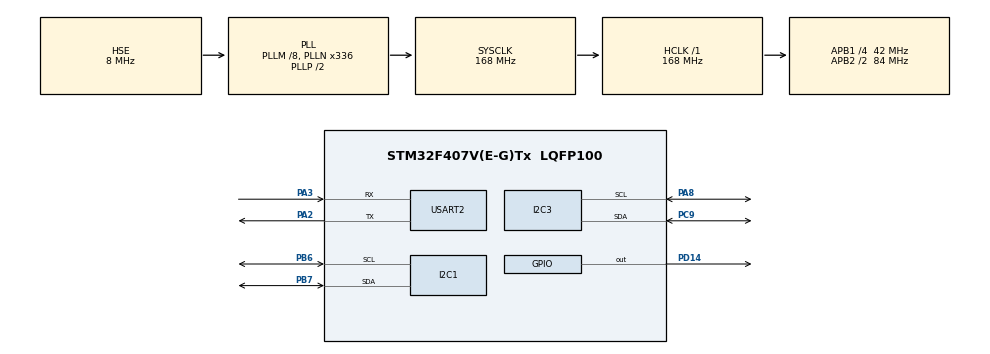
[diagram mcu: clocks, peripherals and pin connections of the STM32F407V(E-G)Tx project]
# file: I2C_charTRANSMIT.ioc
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I2C3.OwnAddress=0x12
Mcu.Family=STM32F4
Mcu.Name=STM32F407V(E-G)Tx
Mcu.Package=LQFP100
NVIC.I2C1_ER_IRQn=true\:0\:0\:false\:false\:true\:true\:true\:true
NVIC.I2C1_EV_IRQn=true\:0\:0\:false\:false\:true\:true\:true\:true
NVIC.I2C3_ER_IRQn=true\:0\:0\:false\:false\:true\:true\:true\:true
NVIC.I2C3_EV_IRQn=true\:0\:0\:false\:false\:true\:true\:true\:true
NVIC.PriorityGroup=NVIC_PRIORITYGROUP_0
PA13.Mode=Serial_Wire
PA13.Signal=SYS_JTMS-SWDIO
PA14.Mode=Serial_Wire
PA14.Signal=SYS_JTCK-SWCLK
PA2.Mode=Asynchronous
PA2.Signal=USART2_TX
PA3.Mode=Asynchronous
PA3.Signal=USART2_RX
PA8.GPIO_Pu=GPIO_PULLUP
PA8.Mode=I2C
PA8.Signal=I2C3_SCL
PB6.GPIO_Pu=GPIO_PULLUP
PB6.Mode=I2C
PB6.Signal=I2C1_SCL
PB7.GPIO_Pu=GPIO_PULLUP
PB7.Mode=I2C
PB7.Signal=I2C1_SDA
PC9.GPIO_Pu=GPIO_PULLUP
PC9.Mode=I2C
PC9.Signal=I2C3_SDA
PD14.Signal=GPIO_Output
PH0-OSC_IN.Mode=HSE-External-Oscillator
PH0-OSC_IN.Signal=RCC_OSC_IN
PH1-OSC_OUT.Mode=HSE-External-Oscillator
PH1-OSC_OUT.Signal=RCC_OSC_OUT
ProjectManager.HeapSize=0x200
ProjectManager.StackSize=0x400
ProjectManager.TargetToolchain=STM32CubeIDE
RCC.48MHZClocksFreq_Value=48000000
RCC.AHBFreq_Value=168000000
RCC.APB1CLKDivider=RCC_HCLK_DIV4
RCC.APB1Freq_Value=42000000
RCC.APB1TimFreq_Value=84000000
RCC.APB2CLKDivider=RCC_HCLK_DIV2
RCC.APB2Freq_Value=84000000
RCC.APB2TimFreq_Value=168000000
RCC.CortexFreq_Value=168000000
RCC.HCLKFreq_Value=168000000
RCC.HSE_VALUE=8000000
RCC.HSI_VALUE=16000000
RCC.PLLM=8
RCC.PLLN=336
RCC.PLLQ=7
RCC.PLLSourceVirtual=RCC_PLLSOURCE_HSE
RCC.SYSCLKFreq_VALUE=168000000
RCC.SYSCLKSource=RCC_SYSCLKSOURCE_PLLCLK
RCC.VCOOutputFreq_Value=336000000
USART2.VirtualMode=VM_ASYNC
board=STM32F407G-DISC1

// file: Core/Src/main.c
/* USER CODE BEGIN Header */
/**
  ******************************************************************************
  * @file           : main.c
  * @brief          : Main program body
  ******************************************************************************
  * @attention
  *
  * Copyright (c) 2026 STMicroelectronics.
  * All rights reserved.
  *
  * This software is licensed under terms that can be found in the LICENSE file
  * in the root directory of this software component.
  * If no LICENSE file comes with this software, it is provided AS-IS.
  *
  ******************************************************************************
  */
/* USER CODE END Header */
#include "main.h"

/* USER CODE BEGIN Includes */
#include<string.h>
#define SIZE 6
/* USER CODE END Includes */

I2C_HandleTypeDef hi2c1;
I2C_HandleTypeDef hi2c3;

UART_HandleTypeDef huart2;

/* USER CODE BEGIN PV */
/* USER CODE BEGIN PV */
uint8_t rxBuffer;
char *msg = "OK\r\n";
/* USER CODE END PV */
/* USER CODE END PV */

void SystemClock_Config(void);
static void MX_GPIO_Init(void);
static void MX_I2C1_Init(void);
static void MX_I2C3_Init(void);
static void MX_USART2_UART_Init(void);

/* USER CODE BEGIN 0 */
#define SLAVE_ADDR 0x24

char  tx_data1[SIZE] = 'A';
uint8_t rx_data1[SIZE];
uint8_t rx_data[SIZE] ;
uint8_t tx_data[SIZE] = "OK";
/* USER CODE END 0 */

int main(void)
{

  /* MCU Configuration--------------------------------------------------------*/

  /* Reset of all peripherals, Initializes the Flash interface and the Systick. */
  HAL_Init();

  /* Configure the system clock */
  SystemClock_Config();

  /* Initialize all configured peripherals */
  MX_GPIO_Init();
  MX_I2C1_Init();
  MX_I2C3_Init();
  MX_USART2_UART_Init();
  /* USER CODE BEGIN 2 */
  HAL_I2C_Slave_Receive_IT(&hi2c3, rx_data1, SIZE);
  /* USER CODE END 2 */

  /* Infinite loop */
  while (1)
  {

    /* USER CODE BEGIN 3 */
	  while (1)
	  {
	      HAL_I2C_Master_Transmit_IT(&hi2c1, SLAVE_ADDR << 1, (uint8_t *)tx_data1, SIZE);
	      HAL_Delay(1000);
	  }
  }
  /* USER CODE END 3 */
}

void SystemClock_Config(void)
{
  RCC_OscInitTypeDef RCC_OscInitStruct = {0};
  RCC_ClkInitTypeDef RCC_ClkInitStruct = {0};

  /** Configure the main internal regulator output voltage
  */
  __HAL_RCC_PWR_CLK_ENABLE();
  __HAL_PWR_VOLTAGESCALING_CONFIG(PWR_REGULATOR_VOLTAGE_SCALE1);

  /** Initializes the RCC Oscillators according to the specified parameters
  * in the RCC_OscInitTypeDef structure.
  */
  RCC_OscInitStruct.OscillatorType = RCC_OSCILLATORTYPE_HSE;
  RCC_OscInitStruct.HSEState = RCC_HSE_ON;
  RCC_OscInitStruct.PLL.PLLState = RCC_PLL_ON;
  RCC_OscInitStruct.PLL.PLLSource = RCC_PLLSOURCE_HSE;
  RCC_OscInitStruct.PLL.PLLM = 8;
  RCC_OscInitStruct.PLL.PLLN = 336;
  RCC_OscInitStruct.PLL.PLLP = RCC_PLLP_DIV2;
  RCC_OscInitStruct.PLL.PLLQ = 7;
  if (HAL_RCC_OscConfig(&RCC_OscInitStruct) != HAL_OK)
  {
    Error_Handler();
  }

  /** Initializes the CPU, AHB and APB buses clocks
  */
  RCC_ClkInitStruct.ClockType = RCC_CLOCKTYPE_HCLK|RCC_CLOCKTYPE_SYSCLK
                              |RCC_CLOCKTYPE_PCLK1|RCC_CLOCKTYPE_PCLK2;
  RCC_ClkInitStruct.SYSCLKSource = RCC_SYSCLKSOURCE_PLLCLK;
  RCC_ClkInitStruct.AHBCLKDivider = RCC_SYSCLK_DIV1;
  RCC_ClkInitStruct.APB1CLKDivider = RCC_HCLK_DIV4;
  RCC_ClkInitStruct.APB2CLKDivider = RCC_HCLK_DIV2;

  if (HAL_RCC_ClockConfig(&RCC_ClkInitStruct, FLASH_LATENCY_5) != HAL_OK)
  {
    Error_Handler();
  }
}

static void MX_I2C1_Init(void)
{

  hi2c1.Instance = I2C1;
  hi2c1.Init.ClockSpeed = 100000;
  hi2c1.Init.DutyCycle = I2C_DUTYCYCLE_2;
  hi2c1.Init.OwnAddress1 = 0;
  hi2c1.Init.AddressingMode = I2C_ADDRESSINGMODE_7BIT;
  hi2c1.Init.DualAddressMode = I2C_DUALADDRESS_DISABLE;
  hi2c1.Init.OwnAddress2 = 0;
  hi2c1.Init.GeneralCallMode = I2C_GENERALCALL_DISABLE;
  hi2c1.Init.NoStretchMode = I2C_NOSTRETCH_DISABLE;
  if (HAL_I2C_Init(&hi2c1) != HAL_OK)
  {
    Error_Handler();
  }

}

static void MX_I2C3_Init(void)
{

  hi2c3.Instance = I2C3;
  hi2c3.Init.ClockSpeed = 100000;
  hi2c3.Init.DutyCycle = I2C_DUTYCYCLE_2;
  hi2c3.Init.OwnAddress1 = 36;
  hi2c3.Init.AddressingMode = I2C_ADDRESSINGMODE_7BIT;
  hi2c3.Init.DualAddressMode = I2C_DUALADDRESS_DISABLE;
  hi2c3.Init.OwnAddress2 = 0;
  hi2c3.Init.GeneralCallMode = I2C_GENERALCALL_DISABLE;
  hi2c3.Init.NoStretchMode = I2C_NOSTRETCH_DISABLE;
  if (HAL_I2C_Init(&hi2c3) != HAL_OK)
  {
    Error_Handler();
  }

}

static void MX_USART2_UART_Init(void)
{

  huart2.Instance = USART2;
  huart2.Init.BaudRate = 115200;
  huart2.Init.WordLength = UART_WORDLENGTH_8B;
  huart2.Init.StopBits = UART_STOPBITS_1;
  huart2.Init.Parity = UART_PARITY_NONE;
  huart2.Init.Mode = UART_MODE_TX_RX;
  huart2.Init.HwFlowCtl = UART_HWCONTROL_NONE;
  huart2.Init.OverSampling = UART_OVERSAMPLING_16;
  if (HAL_UART_Init(&huart2) != HAL_OK)
  {
    Error_Handler();
  }

}

static void MX_GPIO_Init(void)
{
  GPIO_InitTypeDef GPIO_InitStruct = {0};

  /* GPIO Ports Clock Enable */
  __HAL_RCC_GPIOH_CLK_ENABLE();
  __HAL_RCC_GPIOA_CLK_ENABLE();
  __HAL_RCC_GPIOD_CLK_ENABLE();
  __HAL_RCC_GPIOC_CLK_ENABLE();
  __HAL_RCC_GPIOB_CLK_ENABLE();

  /*Configure GPIO pin Output Level */
  HAL_GPIO_WritePin(GPIOD, GPIO_PIN_14, GPIO_PIN_RESET);

  /*Configure GPIO pin : PD14 */
  GPIO_InitStruct.Pin = GPIO_PIN_14;
  GPIO_InitStruct.Mode = GPIO_MODE_OUTPUT_PP;
  GPIO_InitStruct.Pull = GPIO_NOPULL;
  GPIO_InitStruct.Speed = GPIO_SPEED_FREQ_LOW;
  HAL_GPIO_Init(GPIOD, &GPIO_InitStruct);

}

/* USER CODE BEGIN 4 */
void HAL_I2C_SlaveRxCpltCallback(I2C_HandleTypeDef *hi2c)
{
    if(hi2c->Instance == I2C3)
    {
        HAL_GPIO_TogglePin(GPIOD, GPIO_PIN_14);

        // Send received data to UART
        HAL_UART_Transmit(&huart2, (uint8_t*)rx_data1, SIZE, HAL_MAX_DELAY);

        // Restart slave reception
        HAL_I2C_Slave_Receive_IT(&hi2c3, rx_data1, SIZE);
    }
}
/* USER CODE END 4 */

void Error_Handler(void)
{
  __disable_irq();
  while (1)
  {
  }
}
